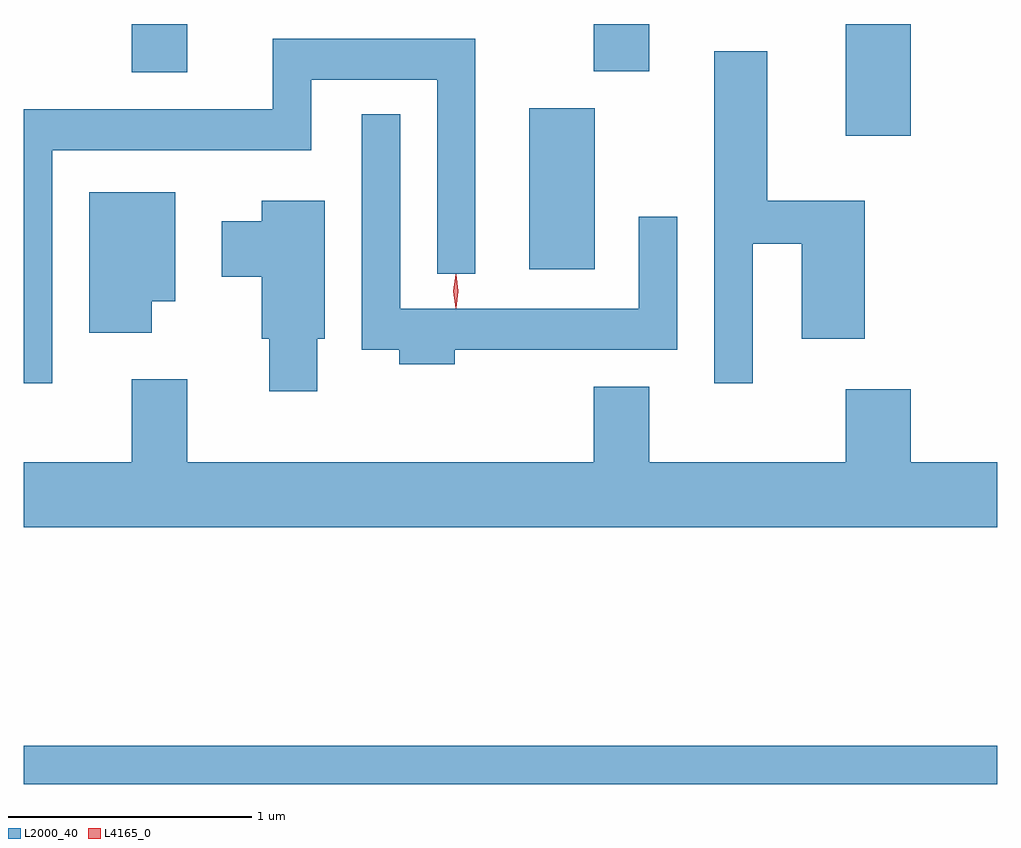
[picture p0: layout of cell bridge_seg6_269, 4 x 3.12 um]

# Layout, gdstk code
import gdstk
lib = gdstk.Library(unit=1e-6, precision=1e-09)
def R(c, l, rs):  # rectangles x0, y0, x1, y1
    for r in rs: c.add(gdstk.rectangle(r[:2], r[2:], *l))
def P(c, l, *ps):  # polygons
    for p in ps: c.add(gdstk.Polygon(p, *l))
L2000_40 = (2000, 40)
L4165_0 = (4165, 0)

bridge_seg6_269 = lib.new_cell('bridge_seg6_269')
R(bridge_seg6_269, L2000_40, [(1250.658,1546.761,1254.658,1546.919), (1252.736,1548.876,1253.004,1549.539), (1254.036,1549.426,1254.304,1549.885), (1251.101,1549.686,1251.329,1549.885), (1253.001,1549.691,1253.229,1549.885)])
P(bridge_seg6_269, L2000_40, [(1250.774,1549.366),(1251.839,1549.366),(1251.839,1549.656),(1252.356,1549.656),(1252.356,1548.858),(1252.514,1548.858),(1252.514,1549.824),(1251.681,1549.824),(1251.681,1549.534),(1250.658,1549.534),(1250.658,1548.408),(1250.774,1548.408)],
  [(1253.654,1548.981),(1253.856,1548.981),(1253.856,1548.591),(1254.114,1548.591),(1254.114,1549.159),(1253.714,1549.159),(1253.714,1549.774),(1253.496,1549.774),(1253.496,1548.408),(1253.654,1548.408)],
  [(1252.429,1548.546),(1253.344,1548.546),(1253.344,1549.093),(1253.186,1549.093),(1253.186,1548.714),(1252.204,1548.714),(1252.204,1549.513),(1252.046,1549.513),(1252.046,1548.546),(1252.201,1548.546),(1252.201,1548.486),(1252.429,1548.486)],
  [(1251.184,1548.746),(1251.279,1548.746),(1251.279,1549.194),(1250.926,1549.194),(1250.926,1548.616),(1251.184,1548.616)],
  [(1251.864,1548.591),(1251.894,1548.591),(1251.894,1549.159),(1251.636,1549.159),(1251.636,1549.074),(1251.471,1549.074),(1251.471,1548.846),(1251.636,1548.846),(1251.636,1548.591),(1251.666,1548.591),(1251.666,1548.376),(1251.864,1548.376)],
  [(1254.658,1548.084),(1254.304,1548.084),(1254.304,1548.384),(1254.036,1548.384),(1254.036,1548.084),(1253.229,1548.084),(1253.229,1548.394),(1253.001,1548.394),(1253.001,1548.084),(1251.329,1548.084),(1251.329,1548.424),(1251.101,1548.424),(1251.101,1548.084),(1250.658,1548.084),(1250.658,1547.816),(1254.658,1547.816)])
P(bridge_seg6_269, L4165_0, [(1252.432,1548.717),(1252.423,1548.787),(1252.432,1548.856),(1252.433,1548.856),(1252.434,1548.856),(1252.443,1548.787),(1252.434,1548.717),(1252.433,1548.717)])

lib.write_gds('bridge_seg6_269.gds')
